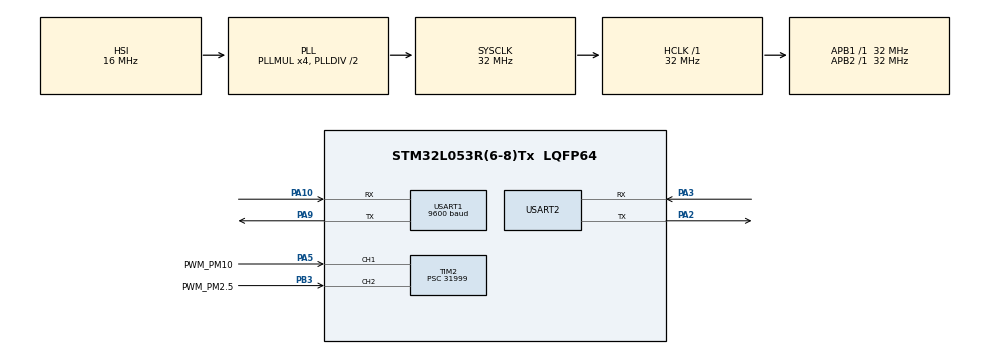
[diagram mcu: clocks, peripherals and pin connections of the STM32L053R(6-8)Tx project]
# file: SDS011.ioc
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Mcu.Family=STM32L0
Mcu.Name=STM32L053R(6-8)Tx
Mcu.Package=LQFP64
NVIC.TIM2_IRQn=true\:0\:0\:false\:true\:true\:4\:true
NVIC.USART1_IRQn=true\:0\:0\:false\:true\:true\:1\:true
PA10.Mode=Asynchronous
PA10.Signal=USART1_RX
PA2.Mode=Asynchronous
PA2.Signal=USART2_TX
PA3.Mode=Asynchronous
PA3.Signal=USART2_RX
PA5.GPIO_Label=PWM_PM10
PA5.Signal=S_TIM2_CH1
PA9.Mode=Asynchronous
PA9.Signal=USART1_TX
PB3.GPIO_Label=PWM_PM2.5
PB3.Signal=S_TIM2_CH2
ProjectManager.HeapSize=0x200
ProjectManager.StackSize=0x400
ProjectManager.TargetToolchain=SW4STM32
RCC.AHBFreq_Value=32000000
RCC.APB1Freq_Value=32000000
RCC.APB1TimFreq_Value=32000000
RCC.APB2Freq_Value=32000000
RCC.APB2TimFreq_Value=32000000
RCC.HCLKFreq_Value=32000000
RCC.HSE_VALUE=8000000
RCC.HSI16_VALUE=16000000
RCC.HSI48_VALUE=48000000
RCC.HSI_VALUE=16000000
RCC.LSE_VALUE=32768
RCC.MSI_VALUE=2097000
RCC.PLLMUL=RCC_PLLMUL_4
RCC.SYSCLKFreq_VALUE=32000000
RCC.SYSCLKSource=RCC_SYSCLKSOURCE_PLLCLK
RCC.VCOOutputFreq_Value=64000000
SH.S_TIM2_CH1.0=TIM2_CH1,Input_Capture1_from_TI1
SH.S_TIM2_CH2.0=TIM2_CH2,Input_Capture2_from_TI2
TIM2.Channel-Input_Capture1_from_TI1=TIM_CHANNEL_1
TIM2.Channel-Input_Capture2_from_TI2=TIM_CHANNEL_2
TIM2.ICPolarity_CH1=TIM_INPUTCHANNELPOLARITY_RISING
TIM2.ICPolarity_CH2=TIM_INPUTCHANNELPOLARITY_FALLING
TIM2.Period=65000
TIM2.Prescaler=31999
TIM2.TIM_MasterSlaveMode=TIM_MASTERSLAVEMODE_DISABLE
USART1.BaudRate=9600
USART1.VirtualMode-Asynchronous=VM_ASYNC
USART2.VirtualMode-Asynchronous=VM_ASYNC
VP_TIM2_VS_ClockSourceINT.Mode=Internal
board=custom

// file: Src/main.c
/* USER CODE BEGIN Header */
/**
  ******************************************************************************
  * @file           : main.c
  * @brief          : Main program body
  ******************************************************************************
  ** This notice applies to any and all portions of this file
  * that are not between comment pairs USER CODE BEGIN and
  * USER CODE END. Other portions of this file, whether
  * inserted by the user or by software development tools
  * are owned by their respective copyright owners.
  *
  * COPYRIGHT(c) 2018 STMicroelectronics
  *
  * Redistribution and use in source and binary forms, with or without modification,
  * are permitted provided that the following conditions are met:
  *   1. Redistributions of source code must retain the above copyright notice,
  *      this list of conditions and the following disclaimer.
  *   2. Redistributions in binary form must reproduce the above copyright notice,
  *      this list of conditions and the following disclaimer in the documentation
  *      and/or other materials provided with the distribution.
  *   3. Neither the name of STMicroelectronics nor the names of its contributors
  *      may be used to endorse or promote products derived from this software
  *      without specific prior written permission.
  *
  * THIS SOFTWARE IS PROVIDED BY THE COPYRIGHT HOLDERS AND CONTRIBUTORS "AS IS"
  * AND ANY EXPRESS OR IMPLIED WARRANTIES, INCLUDING, BUT NOT LIMITED TO, THE
  * IMPLIED WARRANTIES OF MERCHANTABILITY AND FITNESS FOR A PARTICULAR PURPOSE ARE
  * DISCLAIMED. IN NO EVENT SHALL THE COPYRIGHT HOLDER OR CONTRIBUTORS BE LIABLE
  * FOR ANY DIRECT, INDIRECT, INCIDENTAL, SPECIAL, EXEMPLARY, OR CONSEQUENTIAL
  * DAMAGES (INCLUDING, BUT NOT LIMITED TO, PROCUREMENT OF SUBSTITUTE GOODS OR
  * SERVICES; LOSS OF USE, DATA, OR PROFITS; OR BUSINESS INTERRUPTION) HOWEVER
  * CAUSED AND ON ANY THEORY OF LIABILITY, WHETHER IN CONTRACT, STRICT LIABILITY,
  * OR TORT (INCLUDING NEGLIGENCE OR OTHERWISE) ARISING IN ANY WAY OUT OF THE USE
  * OF THIS SOFTWARE, EVEN IF ADVISED OF THE POSSIBILITY OF SUCH DAMAGE.
  *
  ******************************************************************************
  */

/*
 * main.c
 *
 *	The MIT License.
 *  Created on: 12.12.2018
 *		Author: Mateusz Salamon
 *		www.msalamon.pl
 *		mateusz@msalamon.pl
 *
 *	https://msalamon.pl/pomiar-czystosci-powietrza-przy-pomocy-sds011/
 *	https://github.com/lamik/SDS011_STM32_HAL
 */
/* USER CODE END Header */

#include "main.h"
#include "tim.h"
#include "usart.h"
#include "gpio.h"

/* USER CODE BEGIN Includes */
#include "sds011.h"
#include <stdio.h>
/* USER CODE END Includes */

/* USER CODE BEGIN PV */
	uint16_t pm25, pm10;
	char buf[30];
	uint8_t len;
/* USER CODE END PV */

void SystemClock_Config(void);
static void MX_NVIC_Init(void);

int main(void)
{

  /* MCU Configuration--------------------------------------------------------*/

  /* Reset of all peripherals, Initializes the Flash interface and the Systick. */
  HAL_Init();

  /* Configure the system clock */
  SystemClock_Config();

  /* Initialize all configured peripherals */
  MX_GPIO_Init();
  MX_USART2_UART_Init();
  MX_USART1_UART_Init();
  MX_TIM2_Init();

  /* Initialize interrupts */
  MX_NVIC_Init();
  /* USER CODE BEGIN 2 */
#ifdef SDS011_UART
  Sds011_InitUart(&huart1);
  Sds011_SetWorkingPeriod(1);
#endif
#ifdef SDS011_PWM
  Sds011_InitPwm(&htim2, TIM_CHANNEL_2, TIM_CHANNEL_1);
#endif

  /* USER CODE END 2 */

  /* Infinite loop */
  while (1)
  {

    /* USER CODE BEGIN 3 */
	  Sds011_GetPm10(&pm10);
	  Sds011_GetPm2_5(&pm25);

	  len = sprintf(buf, "PM2.5: %d\n\rPM10:  %d\n\r\n\r", pm25, pm10);
	  HAL_UART_Transmit(&huart2, buf, len, 10);
	  HAL_Delay(1000);
  }
  /* USER CODE END 3 */
}

void SystemClock_Config(void)
{
  RCC_OscInitTypeDef RCC_OscInitStruct = {0};
  RCC_ClkInitTypeDef RCC_ClkInitStruct = {0};
  RCC_PeriphCLKInitTypeDef PeriphClkInit = {0};

  /**Configure the main internal regulator output voltage
  */
  __HAL_PWR_VOLTAGESCALING_CONFIG(PWR_REGULATOR_VOLTAGE_SCALE1);
  /**Initializes the CPU, AHB and APB busses clocks
  */
  RCC_OscInitStruct.OscillatorType = RCC_OSCILLATORTYPE_HSI;
  RCC_OscInitStruct.HSIState = RCC_HSI_ON;
  RCC_OscInitStruct.HSICalibrationValue = RCC_HSICALIBRATION_DEFAULT;
  RCC_OscInitStruct.PLL.PLLState = RCC_PLL_ON;
  RCC_OscInitStruct.PLL.PLLSource = RCC_PLLSOURCE_HSI;
  RCC_OscInitStruct.PLL.PLLMUL = RCC_PLLMUL_4;
  RCC_OscInitStruct.PLL.PLLDIV = RCC_PLLDIV_2;
  if (HAL_RCC_OscConfig(&RCC_OscInitStruct) != HAL_OK)
  {
    Error_Handler();
  }
  /**Initializes the CPU, AHB and APB busses clocks
  */
  RCC_ClkInitStruct.ClockType = RCC_CLOCKTYPE_HCLK|RCC_CLOCKTYPE_SYSCLK
                              |RCC_CLOCKTYPE_PCLK1|RCC_CLOCKTYPE_PCLK2;
  RCC_ClkInitStruct.SYSCLKSource = RCC_SYSCLKSOURCE_PLLCLK;
  RCC_ClkInitStruct.AHBCLKDivider = RCC_SYSCLK_DIV1;
  RCC_ClkInitStruct.APB1CLKDivider = RCC_HCLK_DIV1;
  RCC_ClkInitStruct.APB2CLKDivider = RCC_HCLK_DIV1;

  if (HAL_RCC_ClockConfig(&RCC_ClkInitStruct, FLASH_LATENCY_1) != HAL_OK)
  {
    Error_Handler();
  }
  PeriphClkInit.PeriphClockSelection = RCC_PERIPHCLK_USART1|RCC_PERIPHCLK_USART2;
  PeriphClkInit.Usart1ClockSelection = RCC_USART1CLKSOURCE_PCLK2;
  PeriphClkInit.Usart2ClockSelection = RCC_USART2CLKSOURCE_PCLK1;
  if (HAL_RCCEx_PeriphCLKConfig(&PeriphClkInit) != HAL_OK)
  {
    Error_Handler();
  }
}

/**
  * @brief NVIC Configuration.
  * @retval None
  */
static void MX_NVIC_Init(void)
{
  /* USART1_IRQn interrupt configuration */
  HAL_NVIC_SetPriority(USART1_IRQn, 0, 0);
  HAL_NVIC_EnableIRQ(USART1_IRQn);
  /* EXTI0_1_IRQn interrupt configuration */
  HAL_NVIC_SetPriority(EXTI0_1_IRQn, 0, 0);
  HAL_NVIC_EnableIRQ(EXTI0_1_IRQn);
  /* EXTI4_15_IRQn interrupt configuration */
  HAL_NVIC_SetPriority(EXTI4_15_IRQn, 0, 0);
  HAL_NVIC_EnableIRQ(EXTI4_15_IRQn);
  /* TIM2_IRQn interrupt configuration */
  HAL_NVIC_SetPriority(TIM2_IRQn, 0, 0);
  HAL_NVIC_EnableIRQ(TIM2_IRQn);
}

/* USER CODE BEGIN 4 */
void HAL_UART_RxCpltCallback(UART_HandleTypeDef *huart)
{
#ifdef SDS011_UART
	Sds011_UartRxCpltCallback(huart);
#endif
}

void HAL_TIM_IC_CaptureCallback(TIM_HandleTypeDef *htim)
{
#ifdef SDS011_PWM
	Sds011_TimerCaptureCallback(htim);
#endif
}
/* USER CODE END 4 */

void Error_Handler(void)
{
}

/************************ (C) COPYRIGHT STMicroelectronics *****END OF FILE****/
